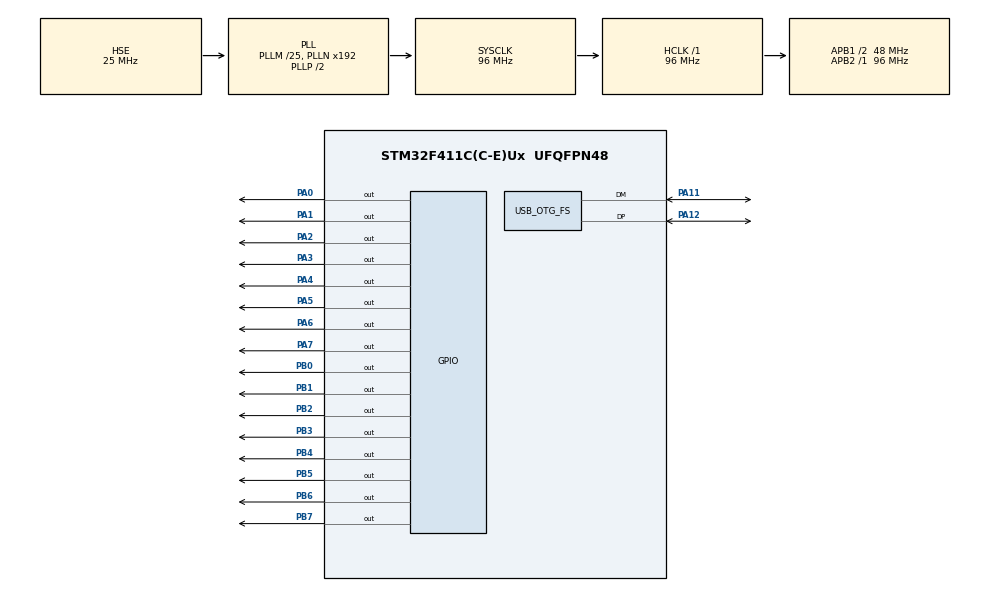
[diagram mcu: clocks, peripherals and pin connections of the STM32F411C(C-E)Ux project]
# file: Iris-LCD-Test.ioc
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Mcu.Family=STM32F4
Mcu.Name=STM32F411C(C-E)Ux
Mcu.Package=UFQFPN48
NVIC.PriorityGroup=NVIC_PRIORITYGROUP_4
PA0-WKUP.Signal=GPIO_Output
PA1.Signal=GPIO_Output
PA11.Mode=Device_Only
PA11.Signal=USB_OTG_FS_DM
PA12.Mode=Device_Only
PA12.Signal=USB_OTG_FS_DP
PA2.Signal=GPIO_Output
PA3.Signal=GPIO_Output
PA4.Signal=GPIO_Output
PA5.Signal=GPIO_Output
PA6.Signal=GPIO_Output
PA7.Signal=GPIO_Output
PB0.Signal=GPIO_Output
PB1.Signal=GPIO_Output
PB2.Signal=GPIO_Output
PB3.Signal=GPIO_Output
PB4.Signal=GPIO_Output
PB5.Signal=GPIO_Output
PB6.Signal=GPIO_Output
PB7.Signal=GPIO_Output
PC14-OSC32_IN.Mode=LSE-External-Oscillator
PC14-OSC32_IN.Signal=RCC_OSC32_IN
PC15-OSC32_OUT.Mode=LSE-External-Oscillator
PC15-OSC32_OUT.Signal=RCC_OSC32_OUT
PH0\ -\ OSC_IN.Mode=HSE-External-Oscillator
PH0\ -\ OSC_IN.Signal=RCC_OSC_IN
PH1\ -\ OSC_OUT.Mode=HSE-External-Oscillator
PH1\ -\ OSC_OUT.Signal=RCC_OSC_OUT
ProjectManager.HeapSize=0x200
ProjectManager.StackSize=0x400
ProjectManager.TargetToolchain=STM32CubeIDE
RCC.48MHZClocksFreq_Value=48000000
RCC.AHBFreq_Value=96000000
RCC.APB1CLKDivider=RCC_HCLK_DIV2
RCC.APB1Freq_Value=48000000
RCC.APB1TimFreq_Value=96000000
RCC.APB2Freq_Value=96000000
RCC.APB2TimFreq_Value=96000000
RCC.CortexFreq_Value=96000000
RCC.HCLKFreq_Value=96000000
RCC.HSE_VALUE=25000000
RCC.HSI_VALUE=16000000
RCC.PLLM=25
RCC.SYSCLKFreq_VALUE=96000000
RCC.SYSCLKSource=RCC_SYSCLKSOURCE_PLLCLK
RCC.VCOOutputFreq_Value=192000000
USB_OTG_FS.VirtualMode=Device_Only
board=custom

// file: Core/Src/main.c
/* USER CODE BEGIN Header */
/**
  ******************************************************************************
  * @file           : main.c
  * @brief          : Main program body
  ******************************************************************************
  * @attention
  *
  * <h2><center>&copy; Copyright (c) 2021 STMicroelectronics.
  * All rights reserved.</center></h2>
  *
  * This software component is licensed by ST under BSD 3-Clause license,
  * the "License"; You may not use this file except in compliance with the
  * License. You may obtain a copy of the License at:
  *                        opensource.org/licenses/BSD-3-Clause
  *
  ******************************************************************************
  */
/* USER CODE END Header */
#include "main.h"

/* USER CODE BEGIN Includes */
#include <stdint.h>
#include <stdlib.h>
#include "Iris_if.h"
#include "Iris_img.h"
#include "Iris_if_sub.h"

/* USER CODE END Includes */

PCD_HandleTypeDef hpcd_USB_OTG_FS;

/* USER CODE BEGIN PV */
uint16_t sushi[2304] = {
    0x0000, 0x0000, 0x0000, 0x0000, 0x0000, 0x0000, 0x0000, 0x0000, 0x0000, 0x0000, 0x0000, 0x0000, 0x0000, 0x0000, 0x0000, 0x0000,
    0x0000, 0x0000, 0x0000, 0x0000, 0x0000, 0x0000, 0x0000, 0x0000, 0x0000, 0x0000, 0x0000, 0x0000, 0x0000, 0x0000, 0x0000, 0x0000,
    0x0000, 0x0000, 0x0000, 0x0000, 0x0000, 0x0000, 0x0000, 0x0000, 0x0000, 0x0000, 0x0000, 0x0000, 0x0000, 0x0000, 0x0000, 0x0000,
    0x0000, 0x0000, 0x0000, 0x0000, 0x0000, 0x0000, 0x0000, 0x0000, 0x0000, 0x0000, 0x0000, 0x0000, 0x0000, 0x0000, 0x0000, 0x0000,
    0x0000, 0x0000, 0x0000, 0x0000, 0x0000, 0x0000, 0x0000, 0x0000, 0x0000, 0x0000, 0x0000, 0x0000, 0x0000, 0x0000, 0x0000, 0x0000,
    0x0000, 0x0000, 0x0000, 0x0000, 0x0000, 0x0000, 0x0000, 0x0000, 0x0000, 0x0000, 0x0000, 0x0000, 0x0000, 0x0000, 0x0000, 0x0000,
    0x0000, 0x0000, 0x0000, 0x0000, 0x0000, 0x0000, 0x0000, 0x0000, 0x0000, 0x0000, 0x0000, 0x0000, 0x0000, 0x0000, 0x0000, 0x0000,
    0x0000, 0x0000, 0x0000, 0x0000, 0x0000, 0x0000, 0x0000, 0x0000, 0x0000, 0x0000, 0x0000, 0x0000, 0x0000, 0x0000, 0x0000, 0x0000,
    0x0000, 0x0000, 0x0000, 0x0000, 0x0000, 0x0000, 0x0000, 0x0000, 0x0000, 0x0000, 0x0000, 0x0000, 0x0000, 0x0000, 0x0000, 0x0000,
    0x0000, 0x0000, 0x0000, 0x0000, 0x0000, 0x0000, 0x0000, 0x0000, 0x0000, 0x0000, 0x0000, 0x0000, 0x0000, 0x0000, 0x0000, 0x0000,
    0x0000, 0x0000, 0x0000, 0x0000, 0x0000, 0x0000, 0x0000, 0x0000, 0x0000, 0x0000, 0x0000, 0x0000, 0x0000, 0x0000, 0x0000, 0x0000,
    0x0000, 0x0000, 0x0000, 0x0000, 0x0000, 0x0000, 0x0000, 0x0000, 0x0000, 0x0000, 0x0000, 0x0000, 0x0000, 0x0000, 0x0000, 0x0000,
    0x0000, 0x0000, 0x0000, 0x0000, 0x0000, 0x0000, 0x0000, 0x0000, 0x0000, 0x0000, 0x0000, 0x0000, 0x0000, 0x0000, 0x0000, 0x0000,
    0x0000, 0x0000, 0x0000, 0x0000, 0x0000, 0x0000, 0x0000, 0x0000, 0x0000, 0x0000, 0x0000, 0x0000, 0x0000, 0x0000, 0x0000, 0x0000,
    0x0000, 0x0000, 0x0000, 0x0000, 0x0000, 0x0000, 0x0000, 0x0000, 0x0000, 0x0000, 0x0000, 0x0000, 0x0000, 0x0000, 0x0000, 0x0000,
    0x0000, 0x0000, 0x0000, 0x0000, 0x0000, 0x0000, 0x0000, 0x0000, 0x0000, 0x0000, 0x0000, 0x0000, 0x0000, 0x0000, 0x0000, 0x0000,
    0x0000, 0x0000, 0x0000, 0x0000, 0x0000, 0x0000, 0x0000, 0x0000, 0x0000, 0x0000, 0x0000, 0x0000, 0x0000, 0x0000, 0x0000, 0x0000,
    0x0000, 0x0000, 0x0000, 0x0000, 0x0000, 0x0000, 0x0000, 0x0000, 0x0000, 0x0000, 0x0000, 0x0000, 0x0000, 0x0000, 0x0000, 0x0000,
    0x0000, 0x0000, 0x0000, 0x0000, 0x0000, 0x0000, 0x0000, 0x0000, 0x0000, 0x0000, 0x0000, 0x0000, 0x0000, 0x0000, 0x0000, 0x0000,
    0x0000, 0x0000, 0x0000, 0x0000, 0x0000, 0x0000, 0x0000, 0x0000, 0x0000, 0x0000, 0x0000, 0x0000, 0x0000, 0x0000, 0x0000, 0x0000,
    0x0000, 0x0000, 0x0000, 0x0000, 0x0000, 0x0000, 0x0000, 0x0000, 0x0000, 0x0000, 0x0000, 0x0000, 0x0000, 0x0000, 0x0000, 0x0000,
    0x0000, 0x0000, 0x0000, 0x0000, 0x0000, 0x0000, 0x0000, 0x0000, 0x0000, 0x0000, 0x0000, 0x0000, 0x0000, 0x0000, 0x0000, 0x0000,
    0x0000, 0x0000, 0x0000, 0x0000, 0x0000, 0x0000, 0x0000, 0x0000, 0x0000, 0x0000, 0x0000, 0x0000, 0x0000, 0x0000, 0x0000, 0x0000,
    0x0000, 0x0000, 0x0000, 0x0000, 0x0000, 0x0000, 0x0000, 0x0000, 0x0000, 0x0000, 0x0000, 0x0000, 0x0000, 0x0000, 0x0000, 0x0000,
    0x0000, 0x0000, 0x0000, 0x0000, 0x0000, 0x0000, 0x0000, 0x0000, 0x0000, 0x0000, 0x0000, 0x0000, 0x0000, 0x0000, 0x0000, 0x0000,
    0x0000, 0x0000, 0x1860, 0x69C5, 0x7A46, 0x82C8, 0x7B2B, 0x838C, 0x7BAE, 0x83AE, 0x7B2C, 0x5A07, 0x0821, 0x0000, 0x0000, 0x0000,
    0x0000, 0x0000, 0x0000, 0x0000, 0x0000, 0x0000, 0x0000, 0x0000, 0x0000, 0x0000, 0x0000, 0x0000, 0x0000, 0x0000, 0x0000, 0x0000,
    0x0000, 0x0000, 0x0000, 0x0000, 0x0000, 0x0000, 0x0000, 0x0000, 0x0000, 0x0000, 0x0000, 0x0000, 0x0000, 0x0000, 0x5143, 0xAB88,
    0xFD2E, 0xFDD0, 0xFDF0, 0xFDF1, 0xFE32, 0xFEB5, 0xFF16, 0xFEF7, 0xFEF6, 0xFEF6, 0xFED5, 0xFED5, 0xFF17, 0xFED6, 0xE551, 0x934A,
    0x5165, 0x0000, 0x0000, 0x0000, 0x0000, 0x0000, 0x0000, 0x0000, 0x0000, 0x0000, 0x0000, 0x0000, 0x0000, 0x0000, 0x0000, 0x0000,
    0x0000, 0x0000, 0x0000, 0x0000, 0x0000, 0x0000, 0x0000, 0x0000, 0x0000, 0x0000, 0x0000, 0x0000, 0x7A65, 0xFDB0, 0xFE52, 0xFDD2,
    0xFD92, 0xFD71, 0xFD30, 0xF590, 0xFDB1, 0xFD4E, 0xF52D, 0xFD6D, 0xFD8E, 0xF5AE, 0xFDCF, 0xF5F0, 0xF5F0, 0xF5D1, 0xFDF1, 0xFDF1,
    0xFE12, 0xFE32, 0xCC2C, 0x5143, 0x0000, 0x0000, 0x0000, 0x0000, 0x0000, 0x0000, 0x0000, 0x0000, 0x0000, 0x0000, 0x0000, 0x0000,
    0x0000, 0x0000, 0x0000, 0x0000, 0x0000, 0x0000, 0x0000, 0x0000, 0x0000, 0x0000, 0x0000, 0xFD6F, 0xFE74, 0xFD91, 0xFC8D, 0xFC2B,
    0xFC4A, 0xF429, 0xFD0C, 0xF4CA, 0xFC88, 0xF4A9, 0xFCC9, 0xF4E9, 0xFD08, 0xFD09, 0xF509, 0xFD09, 0xF509, 0xFD2B, 0xF5AE, 0xF5AE,
    0xF5B0, 0xF5D1, 0xFDF2, 0xFE12, 0xFCEE, 0x5143, 0x0000, 0x0000, 0x0000, 0x0000, 0x0000, 0x0000, 0x0000, 0x0000, 0x0000, 0x0000,
    0x0000, 0x0000, 0x0000, 0x0000, 0x0000, 0x0000, 0x0000, 0x0000, 0x0000, 0x1840, 0xFEB3, 0xFE54, 0xFC8D, 0xFC4A, 0xFC89, 0xFC88,
    0xFC86, 0xFDAD, 0xF528, 0xFD07, 0xFD27, 0xFD27, 0xFD47, 0xFD27, 0xF507, 0xFD07, 0xFCC6, 0xF54B, 0xFDAC, 0xF52A, 0xF4A7, 0xFCA8,
    0xF4A8, 0xF4AA, 0xF50C, 0xF54E, 0xFDB1, 0xFDB0, 0xE40A, 0x0000, 0x0000, 0x0000, 0x0000, 0x0000, 0x0000, 0x0000, 0x0000, 0x0000,
    0x0000, 0x0000, 0x0000, 0x0000, 0x0000, 0x0000, 0x0000, 0x0000, 0x0000, 0xFE72, 0xFDF3, 0xFCA9, 0xFD08, 0xFD48, 0xFD66, 0xFE2B,
    0xF60C, 0xFD46, 0xFD05, 0xFCE5, 0xFD05, 0xFCE5, 0xF4C5, 0xFD87, 0xFE4B, 0xF6B0, 0xFEAF, 0xFDC8, 0xFD26, 0xFCE7, 0xFCC7, 0xF4A8,
    0xFC87, 0xF487, 0xFC68, 0xF489, 0xF4CB, 0xF56F, 0xFD70, 0xFD8E, 0x28C2, 0x0000, 0x0000, 0x0000, 0x0000, 0x0000, 0x0000, 0x0000,
    0x0000, 0x0000, 0x0000, 0x0000, 0x0000, 0x0000, 0x0000, 0x0000, 0x9B48, 0xFEB4, 0xFD68, 0xFDA8, 0xFD86, 0xFCA5, 0xFD09, 0xFB43,
    0xFAE3, 0xFAA3, 0xFA62, 0xFA42, 0xFA62, 0xFB24, 0xFB86, 0xFAE3, 0xFAC1, 0xFAA0, 0xFB61, 0xFC85, 0xF5A8, 0xFE09, 0xFD87, 0xFD07,
    0xF4C6, 0xFC87, 0xF467, 0xFC67, 0xFC48, 0xFC6A, 0xF4EC, 0xFD4F, 0xFDAF, 0x69A3, 0x0000, 0x0000, 0x0000, 0x0000, 0x0000, 0x0000,
    0x0000, 0x0000, 0x0000, 0x0000, 0x0000, 0x0000, 0x0000, 0x0000, 0xFF17, 0xFD46, 0xFCC5, 0xFB84, 0xFAC3, 0xFBC7, 0xF9C1, 0xF9A1,
    0xF960, 0xF100, 0xE8E0, 0xF9E2, 0xE9A2, 0xF100, 0xF120, 0xE961, 0xF1A1, 0xFA02, 0xFA01, 0xFA01, 0xFA60, 0xFB41, 0xFCE5, 0xFE0B,
    0xFDEB, 0xFD69, 0xFD29, 0xF50A, 0xF50B, 0xFD0C, 0xF56E, 0xFD2F, 0xF54F, 0xFDCF, 0x30C2, 0x0000, 0x0000, 0x0000, 0x0000, 0x0000,
    0x0000, 0x0000, 0x0000, 0x0000, 0x0000, 0x0000, 0x0000, 0x1841, 0xFD09, 0xFB23, 0xFA42, 0xF940, 0xFA42, 0xD101, 0xBA05, 0xAAE9,
    0xABED, 0x93ED, 0x9C6F, 0x9CD1, 0xAD53, 0x9CF2, 0xACB1, 0xA40E, 0xB36D, 0xB288, 0xC902, 0xD8A0, 0xF161, 0xF263, 0xFB06, 0xFB22,
    0xFCE4, 0xF608, 0xFD88, 0xFD06, 0xFCC8, 0xFCA9, 0xFC89, 0xF48B, 0xFCED, 0xFD6F, 0xFDAF, 0x0000, 0x0000, 0x0000, 0x0000, 0x0000,
    0x0000, 0x0000, 0x0000, 0x0000, 0x0000, 0x0000, 0x0000, 0x0000, 0xDA85, 0xE9C3, 0xC3AC, 0xB533, 0xBE57, 0xDFBD, 0xE77D, 0xC677,
    0xDEFA, 0xD698, 0xE71B, 0xE6F9, 0xF77D, 0xE73B, 0xEF3B, 0xEF7D, 0xE71A, 0xD71A, 0xDF3B, 0xB594, 0xCCAF, 0xC102, 0xE060, 0xE940,
    0xF9E2, 0xFB42, 0xFD86, 0xFE2A, 0xFD68, 0xFD29, 0xFD0A, 0xFCCB, 0xFCCC, 0xFD0E, 0xFE52, 0x3103, 0x0000, 0x0000, 0x0000, 0x0000,
    0x0000, 0x0000, 0x0000, 0x0000, 0x0000, 0x0000, 0x0000, 0x0000, 0x3A8A, 0xD79B, 0xBE36, 0xEF9D, 0xE71A, 0xEF3C, 0xE71A, 0xEF3C,
    0xE71A, 0xD6B9, 0xD678, 0xE73B, 0xDED9, 0xE71B, 0xE71A, 0xE6FA, 0xDEDA, 0xE71B, 0xE6FA, 0xE71B, 0xE73B, 0xCED9, 0xB553, 0xBA87,
    0xE0A0, 0xF181, 0xF9C1, 0xFBE3, 0xFEAC, 0xFE4E, 0xFDEC, 0xFDAD, 0xFD6D, 0xFD4E, 0xFED4, 0x2924, 0x0000, 0x0000, 0x0000, 0x0000,
    0x0000, 0x0000, 0x0000, 0x0000, 0x0000, 0x0000, 0x0000, 0x0000, 0x0000, 0xAD54, 0xD6D8, 0xCE36, 0xE73B, 0xBE36, 0xD6D9, 0xD71A,
    0xCED9, 0xDF3B, 0xD6D9, 0xDED9, 0xCE97, 0xD6D9, 0xD6D9, 0xD6B8, 0xDF3A, 0xDEFA, 0xDED9, 0xE6FA, 0xE6FA, 0xEF3B, 0xEF5B, 0xDF1B,
    0x9511, 0xB1C5, 0xF1C2, 0xF223, 0xFA61, 0xFCE4, 0xFDE7, 0xFD8A, 0xFD6B, 0xFDAE, 0xFE90, 0x0000, 0x0000, 0x0000, 0x0000, 0x0000,
    0x0000, 0x0000, 0x0000, 0x0000, 0x0000, 0x0000, 0x0000, 0x0000, 0x0000, 0x0000, 0x4227, 0x9D53, 0xADB4, 0xE699, 0xF679, 0xFDD6,
    0xFD96, 0xFD55, 0xFD34, 0xFD34, 0xFD14, 0xFD14, 0xF514, 0xFDB6, 0xF618, 0xF658, 0xE698, 0xDEB9, 0xCEF9, 0xD6DA, 0xDEFA, 0xDEB9,
    0xEF3B, 0xC698, 0x9C4E, 0xC880, 0xF141, 0xF161, 0xFB23, 0xFD65, 0xFDA8, 0xFD27, 0xAB08, 0x0000, 0x0000, 0x0000, 0x0000, 0x0000,
    0x0000, 0x0000, 0x0000, 0x0000, 0x0000, 0x0000, 0x0000, 0x0000, 0x0000, 0x0000, 0x41C7, 0xD514, 0xFDF7, 0xFD14, 0xFCB2, 0xF472,
    0xF430, 0xF3CF, 0xF38E, 0xF30C, 0xEB6E, 0xF411, 0xEBAE, 0xF34E, 0xEB4D, 0xEB8E, 0xF410, 0xF4B3, 0xFD75, 0xFE38, 0xE6B9, 0xD6F9,
    0xD6B9, 0xCE57, 0xF79D, 0xBE77, 0x9A47, 0xC8A0, 0xE8A0, 0xF120, 0xEA60, 0xD369, 0x0001, 0x0000, 0x0000, 0x0000, 0x0000, 0x0000,
    0x0000, 0x0000, 0x0000, 0x0000, 0x0000, 0x0000, 0x0000, 0x0000, 0x0000, 0xF5D7, 0xFE38, 0xFD34, 0xF451, 0xF451, 0xEC31, 0xEC11,
    0xF3CF, 0xEC11, 0xF4B3, 0xF493, 0xF3CF, 0xF2AB, 0xF2CC, 0xEACC, 0xF2AB, 0xF2AC, 0xEA8B, 0xEB2D, 0xF430, 0xEC72, 0xFD55, 0xFDF7,
    0xEE57, 0xD697, 0xCED9, 0xE71B, 0xDF3A, 0xCEFA, 0xB552, 0xC5D5, 0xCEFB, 0xA5B5, 0x0000, 0x0000, 0x0000, 0x0000, 0x0000, 0x0000,
    0x0000, 0x0000, 0x0000, 0x0000, 0x0000, 0x0000, 0x0000, 0x2945, 0xFE9A, 0xFCD3, 0xF471, 0xF3D0, 0xEBAF, 0xEBF0, 0xEC51, 0xEC52,
    0xF431, 0xEB6E, 0xEA6A, 0xEAAB, 0xEAAC, 0xEACC, 0xF2CB, 0xEACC, 0xF2AB, 0xF3AF, 0xF411, 0xF3AF, 0xEAAB, 0xF2EC, 0xEB2D, 0xF3CF,
    0xF4D3, 0xFD96, 0xEDF6, 0xD697, 0xCEB8, 0xDEB9, 0xE73B, 0xD698, 0xFFFD, 0x62C9, 0x0000, 0x0000, 0x0000, 0x0000, 0x0000, 0x0000,
    0x0000, 0x0000, 0x0000, 0x0000, 0x0000, 0x0000, 0x2945, 0xFD55, 0xFC71, 0xF3CF, 0xEAEC, 0xF410, 0xF411, 0xF36E, 0xEB2D, 0xF32D,
    0xEACC, 0xF2EC, 0xF34E, 0xF36E, 0xEB0D, 0xF30C, 0xF32E, 0xEB2D, 0xF3AF, 0xEA8B, 0xEA8A, 0xF2AC, 0xEB0C, 0xF30D, 0xEB2D, 0xF34D,
    0xEB6E, 0xF3CF, 0xF4D3, 0xFD76, 0xEDF6, 0xC656, 0xD6B8, 0xF77B, 0x632B, 0x0000, 0x0000, 0x0000, 0x0000, 0x0000, 0x0000, 0x0000,
    0x0000, 0x0000, 0x0000, 0x0000, 0x0000, 0x0000, 0xFE18, 0xFB6E, 0xF2EC, 0xF2AB, 0xF493, 0xF30C, 0xEAEC, 0xEB4E, 0xEB4E, 0xEC32,
    0xF4F4, 0xEBAF, 0xEA8B, 0xF24A, 0xEA4A, 0xEA4A, 0xEA4A, 0xF24A, 0xEA6A, 0xF26B, 0xEA6A, 0xEA6A, 0xEA4A, 0xEAAB, 0xF38F, 0xEBCF,
    0xF431, 0xF431, 0xF431, 0xF472, 0xF534, 0xFE39, 0x83CD, 0x0000, 0x0000, 0x0000, 0x0000, 0x0000, 0x0000, 0x0000, 0x0000, 0x0000,
    0x0000, 0x0000, 0x0000, 0x0000, 0x0000, 0xA451, 0xFACB, 0xF2EC, 0xF28B, 0xF472, 0xF28B, 0xF30D, 0xF30D, 0xF2ED, 0xF515, 0xF493,
    0xEBB0, 0xF36F, 0xF32E, 0xEACC, 0xEA4A, 0xF22A, 0xEA29, 0xEA2A, 0xEA09, 0xEA29, 0xF2CC, 0xF411, 0xF3F0, 0xF34E, 0xEA8B, 0xF28B,
    0xEAEC, 0xEB2D, 0xF3AE, 0xEBF0, 0xF410, 0xF492, 0xFDF8, 0xE5F6, 0x0000, 0x0000, 0x0000, 0x0000, 0x0000, 0x0000, 0x0000, 0x0000,
    0x0000, 0x0000, 0x0000, 0x0000, 0x0000, 0xFD96, 0xFAAB, 0xF34D, 0xFC31, 0xFA8A, 0xF1E9, 0xF26A, 0xF4B3, 0xF492, 0xE9E8, 0xE9E8,
    0xEA08, 0xEA08, 0xF1C8, 0xE9E8, 0xF2AB, 0xF2EC, 0xF2ED, 0xF32E, 0xF34E, 0xF32E, 0xEAEC, 0xEA09, 0xEA4A, 0xF2AB, 0xEAAB, 0xEA8B,
    0xF28B, 0xEACC, 0xEB0D, 0xF36E, 0xF3EF, 0xF430, 0xF471, 0xFD34, 0xFE59, 0x1082, 0x0000, 0x0000, 0x0000, 0x0000, 0x0000, 0x0000,
    0x0000, 0x0000, 0x0000, 0x0000, 0x3186, 0xFBCF, 0xFC73, 0xF36E, 0xE166, 0xD1E8, 0xD36E, 0xCB2C, 0xC945, 0xC125, 0xC186, 0xC166,
    0xC966, 0xC104, 0xCA6A, 0xD229, 0xD125, 0xD905, 0xE145, 0xE9A7, 0xF1C8, 0xF208, 0xF209, 0xEA0A, 0xEA4A, 0xEAAC, 0xF32E, 0xF30D,
    0xEACC, 0xF2AB, 0xF2AB, 0xEAAB, 0xF34E, 0xEC11, 0xF492, 0xF4F4, 0xFD54, 0xFEBB, 0x10A2, 0x0000, 0x0000, 0x0000, 0x0000, 0x0000,
    0x0000, 0x0000, 0x0000, 0x0000, 0x728A, 0xFB8E, 0xD0C3, 0xC125, 0xB905, 0xC1C7, 0xB842, 0xB822, 0xB042, 0xB082, 0xB041, 0xB882,
    0xB862, 0xD2EB, 0xB8A2, 0xC0C3, 0xB0E4, 0xC124, 0xB925, 0xC145, 0xC945, 0xD125, 0xD905, 0xF249, 0xFBD0, 0xFBD0, 0xFCB3, 0xF515,
    0xFCB3, 0xF431, 0xF3F0, 0xF3AF, 0xF32D, 0xF2CC, 0xF34D, 0xF3CF, 0xF472, 0xFCD2, 0xFDF8, 0x0000, 0x0000, 0x0000, 0x0000, 0x0000,
    0x0000, 0x0000, 0x0000, 0x0000, 0x6B0B, 0xF946, 0xC8A4, 0xB082, 0xA186, 0xAB6C, 0x9CB0, 0xADF5, 0xB676, 0xAE15, 0xCEFA, 0xB615,
    0xBDB5, 0xB532, 0xB450, 0xAB0A, 0xAA69, 0xA145, 0xA062, 0xB082, 0xC0C3, 0xC104, 0xCA8A, 0xC186, 0xC904, 0xD125, 0xD986, 0xEA8B,
    0xF38F, 0xFC32, 0xF3D0, 0xF34E, 0xF30C, 0xF2CC, 0xF2EC, 0xF32D, 0xF3CF, 0xFC92, 0xFCF3, 0x5208, 0x0000, 0x0000, 0x0000, 0x0000,
    0x0000, 0x0000, 0x0000, 0x0000, 0x0000, 0xA470, 0xBDB4, 0xD79C, 0xDF9C, 0xEF9D, 0xEF7D, 0xF7BD, 0xEF5D, 0xEF7C, 0xEF7D, 0xEF7D,
    0xE73B, 0xE75C, 0xDEFA, 0xE79D, 0xDF9C, 0xDFBD, 0xC719, 0xADD5, 0x9C0E, 0xA2CA, 0xA0A2, 0xB862, 0xC104, 0xC125, 0xC945, 0xC966,
    0xD166, 0xE229, 0xFB4E, 0xFBF1, 0xFBD0, 0xF34D, 0xF2EC, 0xFAEC, 0xF32D, 0xF3CF, 0xFC71, 0x9B8E, 0x0000, 0x0000, 0x0000, 0x0000,
    0x0000, 0x0000, 0x0000, 0x0000, 0x0000, 0x634C, 0xEF7C, 0xF7BE, 0xEF9D, 0xF79D, 0xE75C, 0xDEFA, 0xE73B, 0xE71B, 0xEF5C, 0xE73B,
    0xE71B, 0xEF9D, 0xF79D, 0xEF7D, 0xEF7D, 0xE6FA, 0xEF9D, 0xEF5B, 0xE75C, 0xDF3B, 0xE7FE, 0xAD94, 0xA32B, 0x9861, 0xC0A3, 0xC104,
    0xC965, 0xD167, 0xD145, 0xE1A7, 0xFAEC, 0xFB8F, 0xFB0D, 0xF2CC, 0xFAEC, 0xF34D, 0xFC51, 0x9BCF, 0x0000, 0x0000, 0x0000, 0x0000,
    0x0000, 0x0000, 0x0000, 0x0000, 0x0000, 0x10A2, 0xFFFF, 0xDEFA, 0xDEFA, 0xEF5C, 0xE75B, 0xE73B, 0xE73B, 0xDEFA, 0xD6B9, 0xD6D9,
    0xEF5C, 0xE71A, 0xDF1B, 0xE73B, 0xE73B, 0xE73B, 0xE73C, 0xEF5C, 0xEF7D, 0xEF7D, 0xEF7D, 0xEF9C, 0xEFBD, 0xDFBD, 0xA4F2, 0xA185,
    0xB862, 0xC0E3, 0xCA29, 0xD2AB, 0xD1A7, 0xEA29, 0xFB4D, 0xFBAF, 0xFBAF, 0xFC72, 0xFB8E, 0x7B6D, 0x0000, 0x0000, 0x0000, 0x0000,
    0x0000, 0x0000, 0x0000, 0x0000, 0x0000, 0x0000, 0x630A, 0xE719, 0xD6D9, 0xDEDA, 0xC657, 0xD698, 0xD6B9, 0xD698, 0xD6B9, 0xE71B,
    0xCE77, 0xDEFA, 0xDEDA, 0xD6B9, 0xE71B, 0xDF1B, 0xDEFA, 0xDF1A, 0xE73C, 0xEF7C, 0xEF7C, 0xF7BE, 0xEF7D, 0xEF9D, 0xE75B, 0xD75B,
    0xA5B4, 0x91A6, 0xC125, 0xC0C3, 0xC925, 0xC8E5, 0xE105, 0xFA29, 0xFB4D, 0xFB8E, 0xFB6E, 0x4249, 0x0000, 0x0000, 0x0000, 0x0000,
    0x0000, 0x0000, 0x0000, 0x0000, 0x0000, 0x0000, 0x0000, 0x39C6, 0xBE15, 0xD677, 0xE73B, 0xDEFA, 0xDEDA, 0xD6D9, 0xD6D9, 0xCE78,
    0xC657, 0xDEFA, 0xCE78, 0xCE77, 0xE71B, 0xCE98, 0xE71B, 0xDEFA, 0xDF1A, 0xDEFA, 0xEF5C, 0xE71B, 0xE73B, 0xE73C, 0xE71B, 0xF7BE,
    0xEF7D, 0xE7DD, 0xA552, 0xA145, 0xB882, 0xC145, 0xC105, 0xD105, 0xE905, 0xF966, 0xFD35, 0x0000, 0x0000, 0x0000, 0x0000, 0x0000,
    0x0000, 0x0000, 0x0000, 0x0000, 0x0000, 0x0000, 0x0000, 0x0000, 0x0000, 0x18C2, 0x632B, 0xAD93, 0xF79C, 0xDED9, 0xCE57, 0xDED9,
    0xD6B9, 0xCE57, 0xCE78, 0xDEFA, 0xDED9, 0xBDF5, 0xE71B, 0xDEFA, 0xD698, 0xE71A, 0xDF1A, 0xCE98, 0xDF1B, 0xDED9, 0xE73B, 0xE75C,
    0xF79D, 0xE73B, 0xF7BE, 0xDFDD, 0xACD1, 0xA0C3, 0xA8A3, 0xA8E3, 0xB0E4, 0xE0C4, 0xA451, 0x0000, 0x0000, 0x0000, 0x0000, 0x0000,
    0x0000, 0x0000, 0x0000, 0x0000, 0x0000, 0x0000, 0x0000, 0x0000, 0x0000, 0x0000, 0x0000, 0x0000, 0x0000, 0x3A07, 0x7BEE, 0xC616,
    0xDEF9, 0xCE77, 0xD6B8, 0xCE98, 0xDEB9, 0xE73B, 0xDED9, 0xCE98, 0xEF3C, 0xCE98, 0xD6B9, 0xD6B9, 0xDED9, 0xDEDA, 0xCE77, 0xDEFB,
    0xDEFA, 0xDF1A, 0xEF5C, 0xE71B, 0xEF9D, 0xD79C, 0xACB0, 0x9A28, 0xBA8A, 0xDD13, 0x0000, 0x0000, 0x0000, 0x0000, 0x0000, 0x0000,
    0x0000, 0x0000, 0x0000, 0x0000, 0x0000, 0x0000, 0x0000, 0x0000, 0x0000, 0x0000, 0x0000, 0x0000, 0x0000, 0x0000, 0x0000, 0x0000,
    0x0000, 0x4227, 0x632B, 0x8C4F, 0xC636, 0xDEF9, 0xD698, 0xDEF9, 0xBE16, 0xD6B9, 0xD6B8, 0xC616, 0xBDD5, 0xCE77, 0xDEFA, 0xD698,
    0xD6B9, 0xD698, 0xDF1B, 0xE71B, 0xDF1B, 0xEF7C, 0xD6FA, 0xEF9D, 0xADF5, 0x0000, 0x0000, 0x0000, 0x0000, 0x0000, 0x0000, 0x0000,
    0x0000, 0x0000, 0x0000, 0x0000, 0x0000, 0x0000, 0x0000, 0x0000, 0x0000, 0x0000, 0x0000, 0x0000, 0x0000, 0x0000, 0x0000, 0x0000,
    0x0000, 0x0000, 0x0000, 0x0000, 0x0000, 0x0000, 0x2123, 0x7BCE, 0xDEF9, 0xCE97, 0xDED9, 0xE73A, 0xDF3B, 0xD6B9, 0xCE98, 0xD698,
    0xD698, 0xD6B9, 0xC636, 0xE71B, 0xCE77, 0xD6B9, 0xF79D, 0xFFFE, 0x0040, 0x0000, 0x0000, 0x0000, 0x0000, 0x0000, 0x0000, 0x0000,
    0x0000, 0x0000, 0x0000, 0x0000, 0x0000, 0x0000, 0x0000, 0x0000, 0x0000, 0x0000, 0x0000, 0x0000, 0x0000, 0x0000, 0x0000, 0x0000,
    0x0000, 0x0000, 0x0000, 0x0000, 0x0000, 0x0000, 0x0000, 0x0000, 0x0000, 0x0000, 0x0000, 0x39C6, 0x52A9, 0x5AA9, 0x8C4F, 0xD6B9,
    0xD6D8, 0xDED9, 0xD6F9, 0xD6B8, 0xC616, 0xDED9, 0x9D11, 0x0861, 0x0000, 0x0000, 0x0000, 0x0000, 0x0000, 0x0000, 0x0000, 0x0000,
    0x0000, 0x0000, 0x0000, 0x0000, 0x0000, 0x0000, 0x0000, 0x0000, 0x0000, 0x0000, 0x0000, 0x0000, 0x0000, 0x0000, 0x0000, 0x0000,
    0x0000, 0x0000, 0x0000, 0x0000, 0x0000, 0x0000, 0x0000, 0x0000, 0x0000, 0x0000, 0x0000, 0x0000, 0x0000, 0x0000, 0x0000, 0x0000,
    0x0000, 0x0000, 0x0840, 0x4A48, 0x52CA, 0x0000, 0x0000, 0x0000, 0x0000, 0x0000, 0x0000, 0x0000, 0x0000, 0x0000, 0x0000, 0x0000,
    0x0000, 0x0000, 0x0000, 0x0000, 0x0000, 0x0000, 0x0000, 0x0000, 0x0000, 0x0000, 0x0000, 0x0000, 0x0000, 0x0000, 0x0000, 0x0000,
    0x0000, 0x0000, 0x0000, 0x0000, 0x0000, 0x0000, 0x0000, 0x0000, 0x0000, 0x0000, 0x0000, 0x0000, 0x0000, 0x0000, 0x0000, 0x0000,
    0x0000, 0x0000, 0x0000, 0x0000, 0x0000, 0x0000, 0x0000, 0x0000, 0x0000, 0x0000, 0x0000, 0x0000, 0x0000, 0x0000, 0x0000, 0x0000,
    0x0000, 0x0000, 0x0000, 0x0000, 0x0000, 0x0000, 0x0000, 0x0000, 0x0000, 0x0000, 0x0000, 0x0000, 0x0000, 0x0000, 0x0000, 0x0000,
    0x0000, 0x0000, 0x0000, 0x0000, 0x0000, 0x0000, 0x0000, 0x0000, 0x0000, 0x0000, 0x0000, 0x0000, 0x0000, 0x0000, 0x0000, 0x0000,
    0x0000, 0x0000, 0x0000, 0x0000, 0x0000, 0x0000, 0x0000, 0x0000, 0x0000, 0x0000, 0x0000, 0x0000, 0x0000, 0x0000, 0x0000, 0x0000,
    0x0000, 0x0000, 0x0000, 0x0000, 0x0000, 0x0000, 0x0000, 0x0000, 0x0000, 0x0000, 0x0000, 0x0000, 0x0000, 0x0000, 0x0000, 0x0000,
    0x0000, 0x0000, 0x0000, 0x0000, 0x0000, 0x0000, 0x0000, 0x0000, 0x0000, 0x0000, 0x0000, 0x0000, 0x0000, 0x0000, 0x0000, 0x0000,
    0x0000, 0x0000, 0x0000, 0x0000, 0x0000, 0x0000, 0x0000, 0x0000, 0x0000, 0x0000, 0x0000, 0x0000, 0x0000, 0x0000, 0x0000, 0x0000,
    0x0000, 0x0000, 0x0000, 0x0000, 0x0000, 0x0000, 0x0000, 0x0000, 0x0000, 0x0000, 0x0000, 0x0000, 0x0000, 0x0000, 0x0000, 0x0000,
    0x0000, 0x0000, 0x0000, 0x0000, 0x0000, 0x0000, 0x0000, 0x0000, 0x0000, 0x0000, 0x0000, 0x0000, 0x0000, 0x0000, 0x0000, 0x0000,
    0x0000, 0x0000, 0x0000, 0x0000, 0x0000, 0x0000, 0x0000, 0x0000, 0x0000, 0x0000, 0x0000, 0x0000, 0x0000, 0x0000, 0x0000, 0x0000,
    0x0000, 0x0000, 0x0000, 0x0000, 0x0000, 0x0000, 0x0000, 0x0000, 0x0000, 0x0000, 0x0000, 0x0000, 0x0000, 0x0000, 0x0000, 0x0000,
    0x0000, 0x0000, 0x0000, 0x0000, 0x0000, 0x0000, 0x0000, 0x0000, 0x0000, 0x0000, 0x0000, 0x0000, 0x0000, 0x0000, 0x0000, 0x0000,
    0x0000, 0x0000, 0x0000, 0x0000, 0x0000, 0x0000, 0x0000, 0x0000, 0x0000, 0x0000, 0x0000, 0x0000, 0x0000, 0x0000, 0x0000, 0x0000,
    0x0000, 0x0000, 0x0000, 0x0000, 0x0000, 0x0000, 0x0000, 0x0000, 0x0000, 0x0000, 0x0000, 0x0000, 0x0000, 0x0000, 0x0000, 0x0000,
    0x0000, 0x0000, 0x0000, 0x0000, 0x0000, 0x0000, 0x0000, 0x0000, 0x0000, 0x0000, 0x0000, 0x0000, 0x0000, 0x0000, 0x0000, 0x0000,
    0x0000, 0x0000, 0x0000, 0x0000, 0x0000, 0x0000, 0x0000, 0x0000, 0x0000, 0x0000, 0x0000, 0x0000, 0x0000, 0x0000, 0x0000, 0x0000
};

uint8_t *sushi8 = (uint8_t *)sushi;
/* USER CODE END PV */

void SystemClock_Config(void);
static void MX_GPIO_Init(void);
static void MX_USB_OTG_FS_PCD_Init(void);

/* USER CODE BEGIN 0 */

//x:0-592
//r,g,b: 8bit color
void drawDVD(uint16_t x, uint8_t rgb[3])
{
	  for(uint32_t idy=0; idy<48; idy++){
		  for(uint32_t idx=0; idx<80; idx++){
			  uint32_t cur_x = (idx + x) % IRIS_SIZ_X;
			  uint16_t color = convRGB888toRGB565( (rgb[0] * dvd[idy][idx])>>4, (rgb[1] * dvd[idy][idx])>>4, (rgb[2] * dvd[idy][idx])>>4);
			  irisDrawDot(cur_x, idy, color);
		  }
	  }
}

void copySushi(uint8_t x, uint8_t y) {
	for(uint8_t i=0; i<48; i++) {
		for(uint8_t j=0; j<48; j++) {
			irisDrawDotSub((x+i)%IRIS_SUB_SIZ_X, (y+j)%IRIS_SUB_SIZ_Y, sushi[i+j*48]);
		}
	}
}
/* USER CODE END 0 */

int main(void)
{

  /* MCU Configuration--------------------------------------------------------*/

  /* Reset of all peripherals, Initializes the Flash interface and the Systick. */
  HAL_Init();

  /* Configure the system clock */
  SystemClock_Config();

  /* Initialize all configured peripherals */
  MX_GPIO_Init();
  MX_USB_OTG_FS_PCD_Init();
  /* USER CODE BEGIN 2 */
  initIris();
  initIrisSub();
  /* USER CODE END 2 */

  /* Infinite loop */
  /* USER CODE BEGIN WHILE */

  uint8_t sushix = 0;
  uint8_t sushiy = 0;

  while (1)
  {
    /* USER CODE END WHILE */

    /* USER CODE BEGIN 3 */
	  static uint32_t xpos=280;
	  static int8_t speed = 1;
	  static uint8_t col[3] = {0xFF, 0xFF, 0xFF};

	  irisClearDisp();
	  drawDVD(xpos, col);
	  irisUpdate();

	  copySushi(sushix++,sushiy++);
	  irisUpdateSub();

	  if(560 > xpos && 0 < xpos){
		  xpos += speed;
	  }else{
		  speed *= (-1);
		  xpos += speed;
		  col[0] = rand()%(256-30) + 30;
		  col[1] = rand()%(256-30) + 30;
		  col[2] = rand()%(256-30) + 30;
	  }
  }
  /* USER CODE END 3 */
}

void SystemClock_Config(void)
{
  RCC_OscInitTypeDef RCC_OscInitStruct = {0};
  RCC_ClkInitTypeDef RCC_ClkInitStruct = {0};

  /** Configure the main internal regulator output voltage
  */
  __HAL_RCC_PWR_CLK_ENABLE();
  __HAL_PWR_VOLTAGESCALING_CONFIG(PWR_REGULATOR_VOLTAGE_SCALE1);
  /** Initializes the RCC Oscillators according to the specified parameters
  * in the RCC_OscInitTypeDef structure.
  */
  RCC_OscInitStruct.OscillatorType = RCC_OSCILLATORTYPE_HSE;
  RCC_OscInitStruct.HSEState = RCC_HSE_ON;
  RCC_OscInitStruct.PLL.PLLState = RCC_PLL_ON;
  RCC_OscInitStruct.PLL.PLLSource = RCC_PLLSOURCE_HSE;
  RCC_OscInitStruct.PLL.PLLM = 25;
  RCC_OscInitStruct.PLL.PLLN = 192;
  RCC_OscInitStruct.PLL.PLLP = RCC_PLLP_DIV2;
  RCC_OscInitStruct.PLL.PLLQ = 4;
  if (HAL_RCC_OscConfig(&RCC_OscInitStruct) != HAL_OK)
  {
    Error_Handler();
  }
  /** Initializes the CPU, AHB and APB buses clocks
  */
  RCC_ClkInitStruct.ClockType = RCC_CLOCKTYPE_HCLK|RCC_CLOCKTYPE_SYSCLK
                              |RCC_CLOCKTYPE_PCLK1|RCC_CLOCKTYPE_PCLK2;
  RCC_ClkInitStruct.SYSCLKSource = RCC_SYSCLKSOURCE_PLLCLK;
  RCC_ClkInitStruct.AHBCLKDivider = RCC_SYSCLK_DIV1;
  RCC_ClkInitStruct.APB1CLKDivider = RCC_HCLK_DIV2;
  RCC_ClkInitStruct.APB2CLKDivider = RCC_HCLK_DIV1;

  if (HAL_RCC_ClockConfig(&RCC_ClkInitStruct, FLASH_LATENCY_3) != HAL_OK)
  {
    Error_Handler();
  }
}

static void MX_USB_OTG_FS_PCD_Init(void)
{

  hpcd_USB_OTG_FS.Instance = USB_OTG_FS;
  hpcd_USB_OTG_FS.Init.dev_endpoints = 4;
  hpcd_USB_OTG_FS.Init.speed = PCD_SPEED_FULL;
  hpcd_USB_OTG_FS.Init.dma_enable = DISABLE;
  hpcd_USB_OTG_FS.Init.phy_itface = PCD_PHY_EMBEDDED;
  hpcd_USB_OTG_FS.Init.Sof_enable = DISABLE;
  hpcd_USB_OTG_FS.Init.low_power_enable = DISABLE;
  hpcd_USB_OTG_FS.Init.lpm_enable = DISABLE;
  hpcd_USB_OTG_FS.Init.vbus_sensing_enable = DISABLE;
  hpcd_USB_OTG_FS.Init.use_dedicated_ep1 = DISABLE;
  if (HAL_PCD_Init(&hpcd_USB_OTG_FS) != HAL_OK)
  {
    Error_Handler();
  }

}

static void MX_GPIO_Init(void)
{
  GPIO_InitTypeDef GPIO_InitStruct = {0};

  /* GPIO Ports Clock Enable */
  __HAL_RCC_GPIOC_CLK_ENABLE();
  __HAL_RCC_GPIOH_CLK_ENABLE();
  __HAL_RCC_GPIOA_CLK_ENABLE();
  __HAL_RCC_GPIOB_CLK_ENABLE();

  /*Configure GPIO pin Output Level */
  HAL_GPIO_WritePin(GPIOA, GPIO_PIN_0|GPIO_PIN_1|GPIO_PIN_2|GPIO_PIN_3
                          |GPIO_PIN_4|GPIO_PIN_5|GPIO_PIN_6|GPIO_PIN_7, GPIO_PIN_RESET);

  /*Configure GPIO pin Output Level */
  HAL_GPIO_WritePin(GPIOB, GPIO_PIN_0|GPIO_PIN_1|GPIO_PIN_2|GPIO_PIN_3
                          |GPIO_PIN_4|GPIO_PIN_5|GPIO_PIN_6|GPIO_PIN_7, GPIO_PIN_RESET);

  /*Configure GPIO pins : PA0 PA1 PA2 PA3
                           PA4 PA5 PA6 PA7 */
  GPIO_InitStruct.Pin = GPIO_PIN_0|GPIO_PIN_1|GPIO_PIN_2|GPIO_PIN_3
                          |GPIO_PIN_4|GPIO_PIN_5|GPIO_PIN_6|GPIO_PIN_7;
  GPIO_InitStruct.Mode = GPIO_MODE_OUTPUT_PP;
  GPIO_InitStruct.Pull = GPIO_NOPULL;
  GPIO_InitStruct.Speed = GPIO_SPEED_FREQ_LOW;
  HAL_GPIO_Init(GPIOA, &GPIO_InitStruct);

  /*Configure GPIO pins : PB0 PB1 PB2 PB3
                           PB4 PB5 PB6 PB7 */
  GPIO_InitStruct.Pin = GPIO_PIN_0|GPIO_PIN_1|GPIO_PIN_2|GPIO_PIN_3
                          |GPIO_PIN_4|GPIO_PIN_5|GPIO_PIN_6|GPIO_PIN_7;
  GPIO_InitStruct.Mode = GPIO_MODE_OUTPUT_PP;
  GPIO_InitStruct.Pull = GPIO_NOPULL;
  GPIO_InitStruct.Speed = GPIO_SPEED_FREQ_LOW;
  HAL_GPIO_Init(GPIOB, &GPIO_InitStruct);

}

void Error_Handler(void)
{
  __disable_irq();
  while (1)
  {
  }
}

/************************ (C) COPYRIGHT STMicroelectronics *****END OF FILE****/
